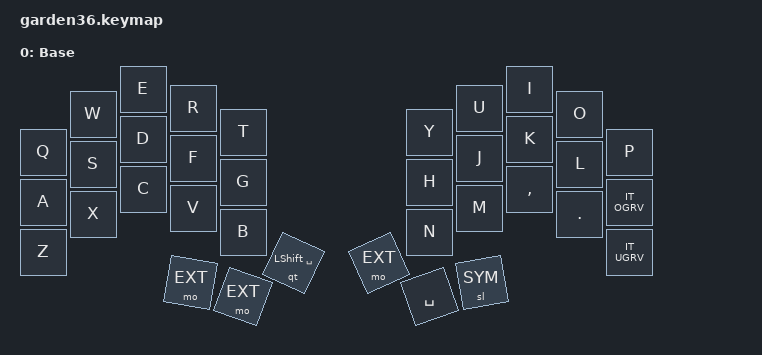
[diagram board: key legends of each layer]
#include <behaviors.dtsi>
#include <dt-bindings/zmk/keys.h>
#include <dt-bindings/zmk/bt.h>

/ {
        keymap {
                compatible = "zmk,keymap";

               default_layer {
			    label = "Base";
			    bindings = <
			    &kp Q &kp W &kp E &kp R &kp T           &kp Y &kp U  &kp I     &kp O   &kp P 
			    &kp A &kp S &kp D &kp F &kp G           &kp H &kp J  &kp K     &kp L &kp IT_OGRV
			    &kp Z &kp X &kp C &kp V &kp B           &kp N &kp M  &kp COMMA &kp DOT &kp IT_UGRV
					&mo EXT	&mo EXT &qt LSHIFT SPACE    &mo EXT &kp SPACE &sl SYM
			    >;
            };
        };
};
